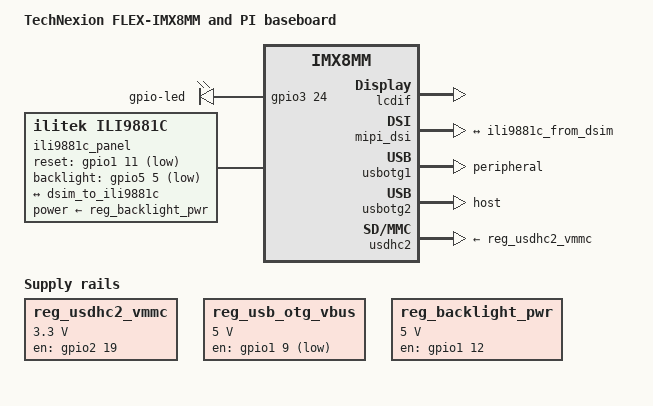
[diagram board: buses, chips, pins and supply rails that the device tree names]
// SPDX-License-Identifier: (GPL-2.0+ OR MIT)
/*
 * Copyright 2020 TechNexion Ltd.
 *
 * Author: Ray Chang <ray.chang@technexion.com>
 *
 */

/dts-v1/;

#include "imx8mm-flex.dtsi"

/ {
	model = "TechNexion FLEX-IMX8MM and PI baseboard";
	compatible = "fsl,imx8mm-flex", "fsl,imx8mm";

	regulators {
		compatible = "simple-bus";
		#address-cells = <1>;
		#size-cells = <0>;

		reg_usdhc2_vmmc: regulator-usdhc2 {
			pinctrl-names = "default";
			pinctrl-0 = <&pinctrl_usdhc2_gpio>;
			compatible = "regulator-fixed";
			regulator-name = "SD_3V3";
			regulator-min-microvolt = <3300000>;
			regulator-max-microvolt = <3300000>;
			gpio = <&gpio2 19 GPIO_ACTIVE_HIGH>;
			off-on-delay = <20000>;
			enable-active-high;
		};

		reg_usb_otg_vbus: usb_otg_vbus {
			pinctrl-names = "default";
			pinctrl-0 = <&pinctrl_otg_vbus>;
			compatible = "regulator-fixed";
			regulator-name = "usb_otg_vbus";
			regulator-min-microvolt = <5000000>;
			regulator-max-microvolt = <5000000>;
			gpio = <&gpio1 9 GPIO_ACTIVE_LOW>;
			enable-active-low;
		};

		reg_backlight_pwr: regulator_blpwr {
			pinctrl-names = "default";
			pinctrl-0 = <&pinctrl_backlight_pwr>;
			compatible = "regulator-fixed";
			regulator-name = "backlight_pwr";
			regulator-min-microvolt = <5000000>;
			regulator-max-microvolt = <5000000>;
			gpio = <&gpio1 12 GPIO_ACTIVE_HIGH>;
			enable-active-high;
		};
	};

	leds {
		compatible = "gpio-leds";
		pinctrl-names = "default";
		pinctrl-0 = <&pinctrl_gpio_led>;

		led {
			label = "gpio-led";
			gpios = <&gpio3 24 GPIO_ACTIVE_HIGH>;
		};
	};

	dsi_host: dsi-host {
		compatible = "samsung,sec-mipi-dsi";
		status = "okay";
	};

	ili9881c_panel {
		compatible = "ilitek,ili9881c";
		pinctrl-names = "default";
		pinctrl-0 = <&pinctrl_mipi_dsi_rst>;
		power-supply = <&reg_backlight_pwr>;
		reset-gpio = <&gpio1 11 GPIO_ACTIVE_LOW>;
		backlight-gpio = <&gpio5 5 GPIO_ACTIVE_LOW>;
		dsi-lanes = <4>;
		video-mode = <2>;	/* 0: burst mode
					 * 1: non-burst mode with sync event
					 * 2: non-burst mode with sync pulse
					 */
		status = "okay";

		port {
			ili9881c_from_dsim: endpoint {
				remote-endpoint = <&dsim_to_ili9881c>;
			};
		};
	};
};

&lcdif {
	enable_polarity_low;
	/delete-property/ assigned-clocks;
	/delete-property/ assigned-clock-parents;
	/delete-property/ assigned-clock-rates;
	display = <&display0>;
	status = "okay";

	display0: display@0 {
		bits-per-pixel = <24>;
		bus-width = <24>;
	};
};

&mipi_dsi {
	/delete-property/ assigned-clocks;
	/delete-property/ assigned-clock-parents;
	/delete-property/ assigned-clock-rates;
	status = "okay";

	port@1 {
		dsim_to_ili9881c: endpoint {
			remote-endpoint = <&ili9881c_from_dsim>;
		};
	};
};

&iomuxc {
	pinctrl_otg_vbus: otgvbusgrp {
		fsl,pins = <
			MX8MM_IOMUXC_GPIO1_IO09_GPIO1_IO9	0x19 /* USB OTG VBUS Enable */
		>;
	};

	pinctrl_backlight_pwr: backlight_pwrgrp {
		fsl,pins = <
			MX8MM_IOMUXC_GPIO1_IO12_GPIO1_IO12	0x19
			MX8MM_IOMUXC_SPDIF_EXT_CLK_GPIO5_IO5	0x16
		>;
	};

	pinctrl_mipi_dsi_rst: mipi_dsi_rstgrp {
		fsl,pins = <
			MX8MM_IOMUXC_GPIO1_IO11_GPIO1_IO11	0x16 /* DSI RST */
		>;
	};

	pinctrl_gpio_led: gpioledgrp {
		fsl,pins = <
			MX8MM_IOMUXC_SAI5_RXD3_GPIO3_IO24	0x19 /* GPIO_P248 */
		>;
	};

	pinctrl_clix_bt_ctrl: clixbt_ctrlgrp {
		fsl,pins = <
			MX8MM_IOMUXC_ECSPI2_SCLK_GPIO5_IO10	0x41 /* CLIX_BT_HOST_WAKE */
			MX8MM_IOMUXC_ECSPI2_MOSI_GPIO5_IO11	0x41 /* CLIX_BT_REG_ON */
		>;
	};

	pinctrl_clix_wifi_ctrl: clixwifi_ctrlgrp {
		fsl,pins = <
			MX8MM_IOMUXC_ECSPI2_MISO_GPIO5_IO12	0x41 /* CLIX_WL_HOST_WAKE */
			MX8MM_IOMUXC_ECSPI2_SS0_GPIO5_IO13	0x41 /* CLIX_WL_REG_ON */
		>;
	};
};

&usbotg1 {
	dr_mode = "peripheral";
	status = "okay";
};

&usbotg2 {
	dr_mode = "host";
	status = "okay";
};

/* SD card on Baseboard */
&usdhc2 {
	vmmc-supply = <&reg_usdhc2_vmmc>;
	status = "okay";
};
